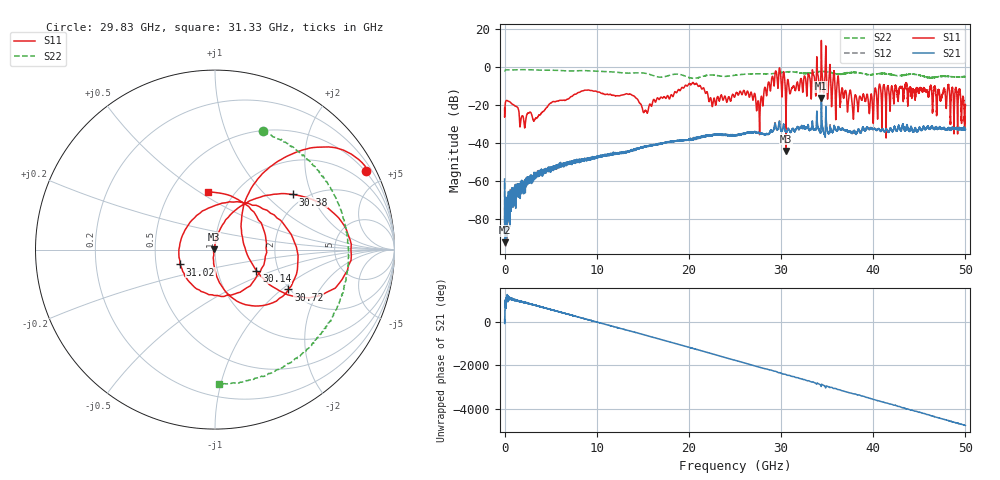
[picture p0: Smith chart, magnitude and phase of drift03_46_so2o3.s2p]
!Created with skrf (http://scikit-rf.org).
# Hz S RI R 50.0
!freq ReS11 ImS11 ReS21 ImS21 ReS12 ImS12 ReS22 ImS22
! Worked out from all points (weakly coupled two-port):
!   10001 points, 300 kHz to 50 GHz, reference 50 ohm
!   highest |S21| = -16.45 dB at 34.37 GHz (marker M1); lowest = -92.3 dB at 80.3 MHz (marker M2)
!   lowest |S11| = -44.1 dB at 30.53 GHz (marker M3), VSWR 1.01, Z = 49.4 + j0.263 ohm
!   |S11| at or under -10 dB: start of sweep to 19.56 GHz; 21.25 GHz to 28.55 GHz (7.297 GHz wide, 29.3 % of centre); 36.29 GHz to 40.62 GHz (4.334 GHz wide, 11.3 % of centre) (the widest 3 of 38)
!   |S22| runs from -5.9 to -1.3 dB; largest |S21 - S12| = 0.026
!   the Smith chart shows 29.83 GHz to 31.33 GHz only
!   S11 on the Smith chart (normalised r, x): 29.83 GHz: 0.43, +4.03; 30.14 GHz: 1.54, -0.39; 30.38 GHz: 1.73, +1.48; 30.72 GHz: 1.97, -1.12; 31.02 GHz: 0.67, -0.11; 31.33 GHz: 0.76, +0.54
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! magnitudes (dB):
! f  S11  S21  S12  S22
! 300 kHz  -21.7  -58.9  -61.2  -2.1
! 80.3 MHz  -18.9  -92.3  -75.9  -1.5
! 3.3 GHz  -27.3  -56.2  -58.5  -1.5
! 8.335 GHz  -12.7  -49.0  -49.2  -1.9
! 15.29 GHz  -22.8  -41.9  -42.0  -3.3
! 16.67 GHz  -16.5  -40.5  -40.6  -5.2
! 20.26 GHz  -9.2  -38.1  -38.0  -5.8
! 22.71 GHz  -16.5  -35.6  -35.5  -4.2
! 25 GHz  -15.3  -36.0  -35.9  -4.3
! 27.53 GHz  -17.8  -34.5  -34.5  -3.5
! 29.83 GHz  -0.4  -29.3  -28.5  -3.0
! 30.14 GHz  -11.8  -33.4  -33.6  -2.7
! 30.38 GHz  -5.5  -32.1  -32.3  -2.6
! 30.53 GHz  -44.1  -34.1  -34.2  -2.5
! 30.72 GHz  -6.6  -32.7  -32.6  -2.5
! 31.02 GHz  -13.5  -34.4  -34.1  -2.4
! 31.33 GHz  -9.8  -32.4  -32.5  -2.5
! 33.34 GHz  -7.5  -31.2  -31.2  -2.9
! 34.37 GHz  14.0  -16.4  -17.7  -2.2
! 37.86 GHz  -26.9  -33.6  -34.0  -2.9
! 41.67 GHz  -11.5  -34.3  -34.0  -3.6
! 50 GHz  -20.0  -32.8  -33.2  -5.0
